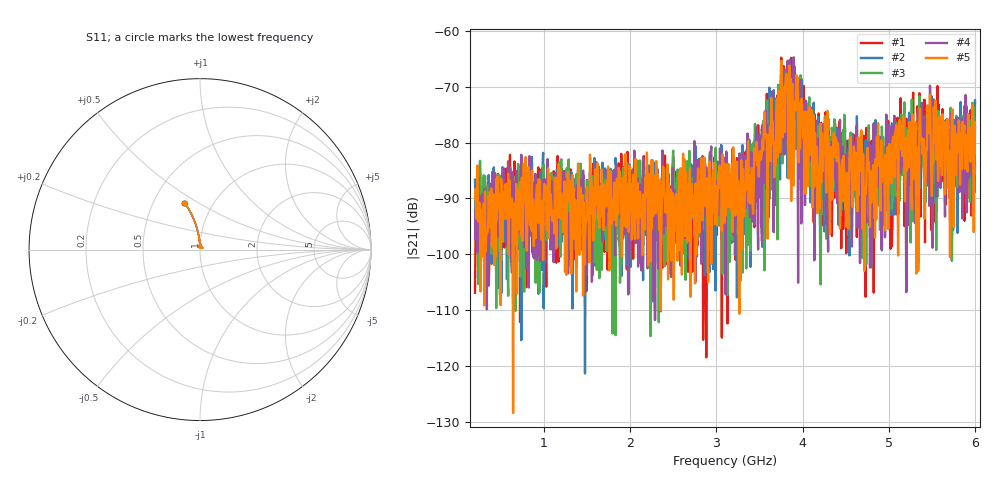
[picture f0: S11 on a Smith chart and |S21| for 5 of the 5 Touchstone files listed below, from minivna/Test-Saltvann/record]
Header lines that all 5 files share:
! NanoVNA-App by OneOfEleven et al v1.1.209 (+OD15)
! Start: 200MHz Stop: 6GHz Points: 801
! S-Parameter data: F S11 S21 S12 S22
# Hz S RI R 50
!  Frequency  S11_Real  S11_Imag  S21_Real  S21_Imag  S12_Real  S12_Imag  S22_Real  S22_Imag
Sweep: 200 MHz to 6 GHz
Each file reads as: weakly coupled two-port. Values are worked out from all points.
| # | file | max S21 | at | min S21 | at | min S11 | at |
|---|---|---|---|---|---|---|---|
| 1 | nanovna-litevna_2024-07-30_15-25-11.s2p | -64.77 dB | 3.752 GHz | -118.5 dB | 2.882 GHz | -38.9 dB | 5.971 GHz |
| 2 | nanovna-litevna_2024-07-30_15-25-15.s2p | -66.36 dB | 3.905 GHz | -121.4 dB | 1.476 GHz | -38.7 dB | 5.986 GHz |
| 3 | nanovna-litevna_2024-07-30_15-25-36.s2p | -65.29 dB | 3.847 GHz | -114.7 dB | 2.237 GHz | -38.8 dB | 5.986 GHz |
| 4 | nanovna-litevna_2024-07-30_15-25-43.s2p | -64.71 dB | 3.897 GHz | -111.8 dB | 2.288 GHz | -39.1 dB | 5.971 GHz |
| 5 | nanovna-litevna_2024-07-30_15-26-10.s2p | -65.35 dB | 3.752 GHz | -128.4 dB | 642.2 MHz | -38.6 dB | 5.616 GHz |
